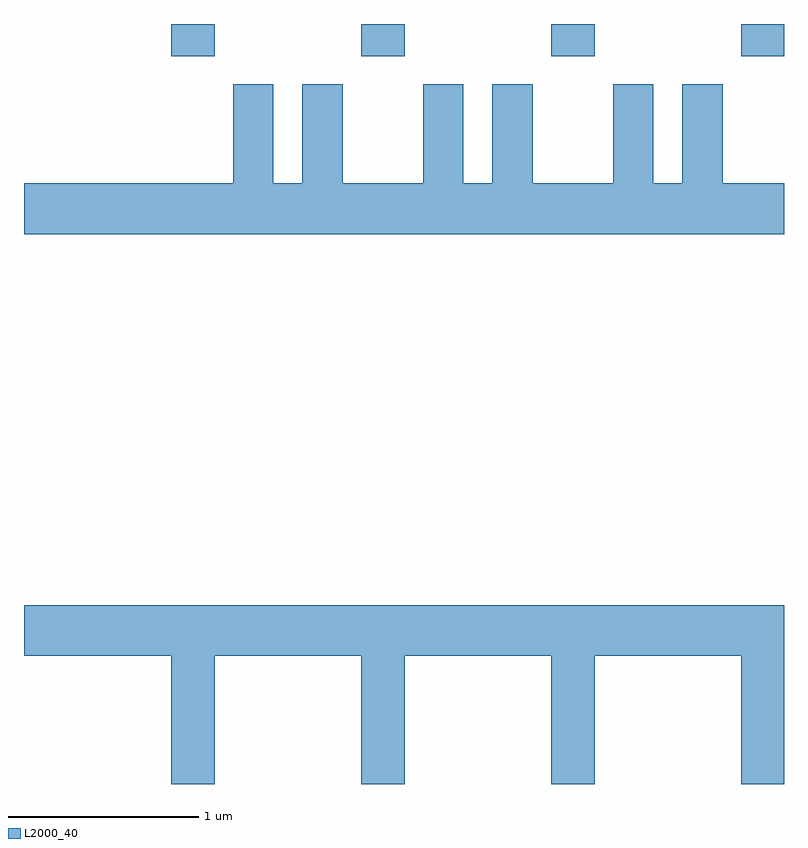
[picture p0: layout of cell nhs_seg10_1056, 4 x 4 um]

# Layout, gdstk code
import gdstk
lib = gdstk.Library(unit=1e-6, precision=1e-09)
def R(c, l, rs):  # rectangles x0, y0, x1, y1
    for r in rs: c.add(gdstk.rectangle(r[:2], r[2:], *l))
def A(c, l, x, y, w, h, nx, ny, dx, dy):  # array of equal rectangles
    R(c, l, [(x+i*dx, y+j*dy, x+i*dx+w, y+j*dy+h) for i in range(nx) for j in range(ny)])
def P(c, l, *ps):  # polygons
    for p in ps: c.add(gdstk.Polygon(p, *l))
L2000_40 = (2000, 40)

nhs_seg10_1056 = lib.new_cell('nhs_seg10_1056')
A(nhs_seg10_1056, L2000_40, 216.386, 2170.351, 0.228, 0.171, 3, 1, 1, 0)
R(nhs_seg10_1056, L2000_40, [(219.386,2170.351,219.611,2170.522)])
P(nhs_seg10_1056, L2000_40, [(219.611,2169.684),(219.289,2169.684),(219.289,2170.204),(219.076,2170.204),(219.076,2169.684),(218.924,2169.684),(218.924,2170.204),(218.711,2170.204),(218.711,2169.684),(218.289,2169.684),(218.289,2170.204),(218.076,2170.204),(218.076,2169.684),(217.924,2169.684),(217.924,2170.204),(217.711,2170.204),(217.711,2169.684),(217.289,2169.684),(217.289,2170.204),(217.076,2170.204),(217.076,2169.684),(216.924,2169.684),(216.924,2170.204),(216.711,2170.204),(216.711,2169.684),(215.611,2169.684),(215.611,2169.416),(219.611,2169.416)],
  [(216.614,2167.196),(217.386,2167.196),(217.386,2166.522),(217.614,2166.522),(217.614,2167.196),(218.386,2167.196),(218.386,2166.522),(218.614,2166.522),(218.614,2167.196),(219.386,2167.196),(219.386,2166.522),(219.611,2166.522),(219.611,2167.464),(215.611,2167.464),(215.611,2167.196),(216.386,2167.196),(216.386,2166.522),(216.614,2166.522)])

lib.write_gds('nhs_seg10_1056.gds')
